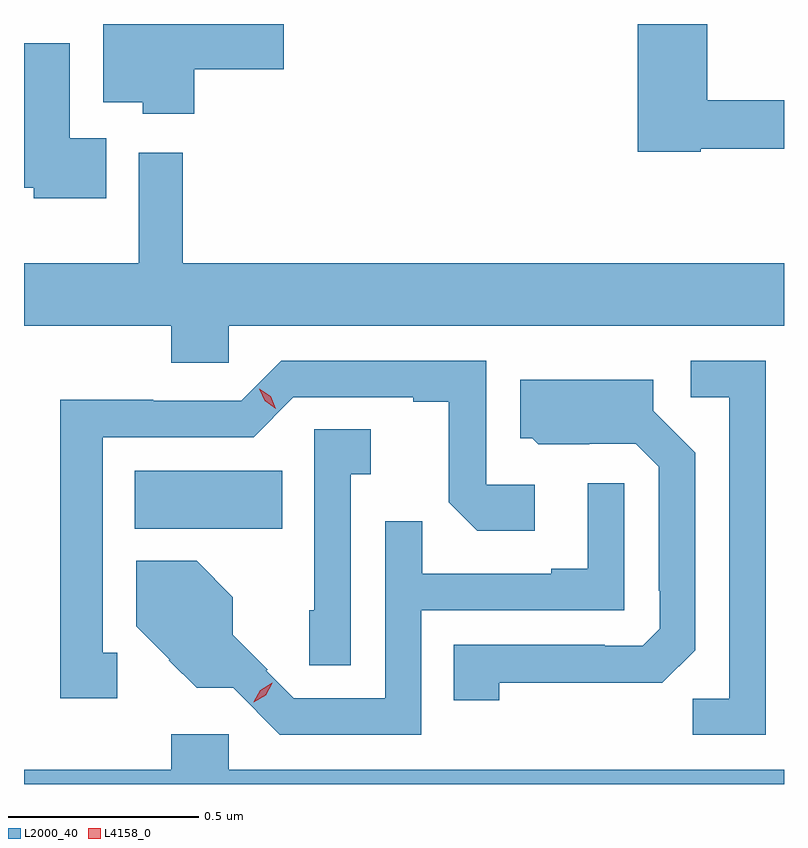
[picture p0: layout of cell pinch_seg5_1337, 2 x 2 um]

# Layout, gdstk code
import gdstk
lib = gdstk.Library(unit=1e-6, precision=1e-09)
def R(c, l, rs):  # rectangles x0, y0, x1, y1
    for r in rs: c.add(gdstk.rectangle(r[:2], r[2:], *l))
def P(c, l, *ps):  # polygons
    for p in ps: c.add(gdstk.Polygon(p, *l))
L2000_40 = (2000, 40)
L4158_0 = (4158, 0)

pinch_seg5_1337 = lib.new_cell('pinch_seg5_1337')
R(pinch_seg5_1337, L2000_40, [(371.579,845.57,371.966,845.722)])
P(pinch_seg5_1337, L2000_40, [(371.735,846.779),(371.971,846.779),(371.971,846.898),(371.495,846.898),(371.495,846.692),(371.6,846.692),(371.6,846.662),(371.735,846.662)],
  [(373.068,846.57),(373.287,846.57),(373.287,846.698),(373.085,846.698),(373.085,846.898),(372.902,846.898),(372.902,846.562),(373.068,846.562)],
  [(371.504,846.598),(371.407,846.598),(371.407,846.847),(371.287,846.847),(371.287,846.467),(371.313,846.467),(371.313,846.44),(371.504,846.44)],
  [(371.826,846.104),(373.287,846.104),(373.287,846.268),(371.705,846.268),(371.705,846.559),(371.589,846.559),(371.589,846.268),(371.287,846.268),(371.287,846.104),(371.675,846.104),(371.675,846.006),(371.826,846.006)],
  [(371.532,845.244),(371.494,845.244),(371.494,845.811),(371.891,845.811),(371.996,845.916),(372.311,845.916),(372.311,845.904),(372.405,845.904),(372.405,845.639),(372.48,845.564),(372.631,845.564),(372.631,845.685),(372.504,845.685),(372.504,846.012),(371.964,846.012),(371.859,845.907),(371.627,845.907),(371.627,845.909),(371.383,845.909),(371.383,845.124),(371.532,845.124)],
  [(373.239,846.012),(373.041,846.012),(373.041,845.916),(373.143,845.916),(373.143,845.123),(373.047,845.123),(373.047,845.028),(373.239,845.028)],
  [(372.537,845.164),(372.967,845.164),(373.053,845.25),(373.053,845.77),(372.943,845.88),(372.943,845.962),(372.593,845.962),(372.593,845.808),(372.624,845.808),(372.64,845.792),(372.774,845.792),(372.774,845.793),(372.897,845.793),(372.957,845.733),(372.957,845.407),(372.96,845.407),(372.96,845.307),(372.915,845.262),(372.815,845.262),(372.815,845.265),(372.418,845.265),(372.418,845.118),(372.537,845.118)],
  [(372.147,845.713),(372.199,845.713),(372.199,845.831),(372.051,845.831),(372.051,845.355),(372.037,845.355),(372.037,845.211),(372.147,845.211)],
  [(372.333,845.355),(372.867,845.355),(372.867,845.689),(372.77,845.689),(372.77,845.464),(372.674,845.464),(372.674,845.451),(372.335,845.451),(372.335,845.59),(372.237,845.59),(372.237,845.124),(371.997,845.124),(371.925,845.196),(371.928,845.199),(371.836,845.291),(371.836,845.39),(371.741,845.485),(371.582,845.485),(371.582,845.313),(371.67,845.225),(371.668,845.224),(371.741,845.151),(371.837,845.151),(371.96,845.028),(372.333,845.028)],
  [(373.287,844.936),(371.826,844.936),(371.826,845.029),(371.675,845.029),(371.675,844.936),(371.287,844.936),(371.287,844.898),(373.287,844.898)])
P(pinch_seg5_1337, L4158_0, [(371.95,845.886),(371.92,845.906),(371.906,845.938),(371.906,845.938),(371.906,845.938),(371.936,845.919),(371.95,845.886),(371.95,845.886)],
  [(371.892,845.113),(371.892,845.114),(371.909,845.145),(371.94,845.164),(371.94,845.164),(371.94,845.163),(371.923,845.131),(371.892,845.113)])

lib.write_gds('pinch_seg5_1337.gds')
